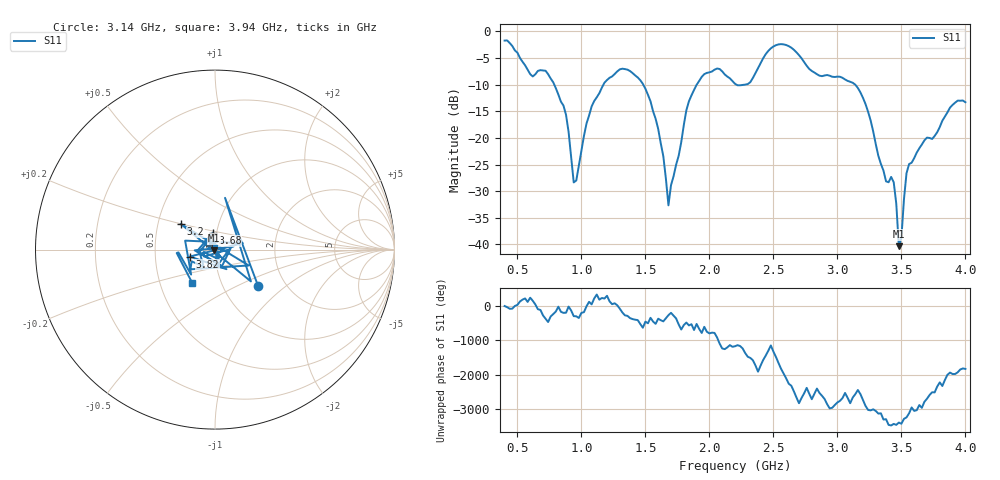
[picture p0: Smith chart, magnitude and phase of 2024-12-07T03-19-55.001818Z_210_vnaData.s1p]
!Created with skrf (http://scikit-rf.org).
# Hz S RI R 50.0
!freq ReS11 ImS11
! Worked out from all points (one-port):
!   181 points, 400 MHz to 4 GHz, reference 50 ohm
!   lowest |S11| = -40.3 dB at 3.48 GHz (marker M1), VSWR 1.02, Z = 49.2 - j0.493 ohm
!   |S11| at or under -10 dB: 787.9 MHz to 1.172 GHz (384.4 MHz wide, 39.2 % of centre); 1.483 GHz to 1.901 GHz (417.9 MHz wide, 24.7 % of centre); 3.139 GHz to end of sweep (the widest 3 of 4)
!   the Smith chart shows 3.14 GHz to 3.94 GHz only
!   S11 on the Smith chart (normalised r, x): 3.14 GHz: 1.46, -0.66; 3.2 GHz: 0.66, +0.20; 3.68 GHz: 0.96, +0.18; 3.82 GHz: 0.75, -0.06; 3.94 GHz: 0.73, -0.28
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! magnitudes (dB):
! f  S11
! 400 MHz  -1.7
! 620 MHz  -8.5
! 720 MHz  -7.4
! 860 MHz  -13.9
! 940 MHz  -28.4
! 1.08 GHz  -14.1
! 1.3 GHz  -7.1
! 1.54 GHz  -13.1
! 1.64 GHz  -23.5
! 1.68 GHz  -32.7
! 1.76 GHz  -23.3
! 1.84 GHz  -13.1
! 1.94 GHz  -8.5
! 2.2 GHz  -9.8
! 2.32 GHz  -9.5
! 2.5 GHz  -2.8
! 2.66 GHz  -3.5
! 3.1 GHz  -9.5
! 3.14 GHz  -10.0
! 3.2 GHz  -12.5
! 3.38 GHz  -28.2
! 3.44 GHz  -28.3
! 3.48 GHz  -40.3
! 3.56 GHz  -24.9
! 3.68 GHz  -20.5
! 3.82 GHz  -16.8
! 3.94 GHz  -13.0
! 4 GHz  -13.3
